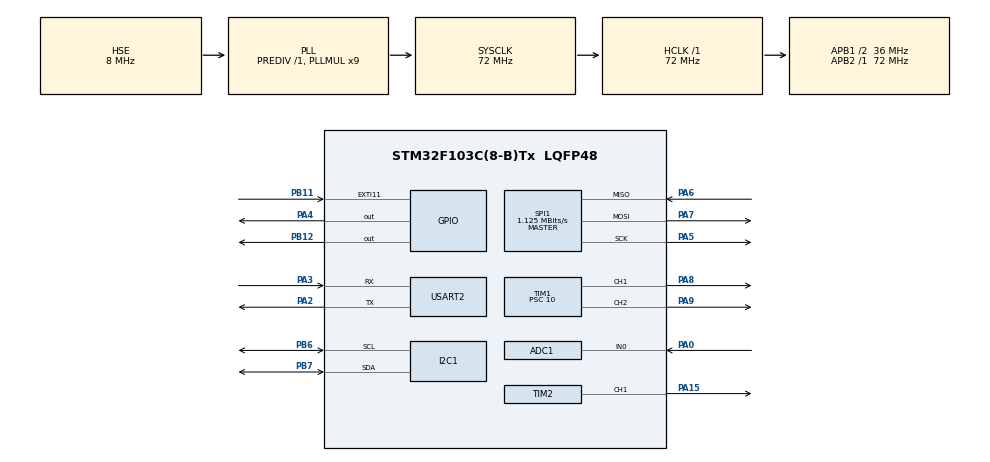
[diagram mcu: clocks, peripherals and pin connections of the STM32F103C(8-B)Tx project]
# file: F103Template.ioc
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ADC1.Channel-0\#ChannelRegularConversion=ADC_CHANNEL_0
ADC1.ContinuousConvMode=ENABLE
ADC1.NbrOfConversion=1
ADC1.NbrOfConversionFlag=1
ADC1.Rank-0\#ChannelRegularConversion=1
ADC1.SamplingTime-0\#ChannelRegularConversion=ADC_SAMPLETIME_1CYCLE_5
ADC1.master=1
Dma.ADC1.1.Direction=DMA_PERIPH_TO_MEMORY
Dma.ADC1.1.Instance=DMA1_Channel1
Dma.ADC1.1.MemDataAlignment=DMA_MDATAALIGN_HALFWORD
Dma.ADC1.1.MemInc=DMA_MINC_ENABLE
Dma.ADC1.1.Mode=DMA_NORMAL
Dma.ADC1.1.PeriphDataAlignment=DMA_PDATAALIGN_HALFWORD
Dma.ADC1.1.PeriphInc=DMA_PINC_DISABLE
Dma.ADC1.1.Priority=DMA_PRIORITY_LOW
Dma.MEMTOMEM.0.Direction=DMA_MEMORY_TO_MEMORY
Dma.MEMTOMEM.0.Instance=DMA1_Channel3
Dma.MEMTOMEM.0.MemDataAlignment=DMA_MDATAALIGN_BYTE
Dma.MEMTOMEM.0.MemInc=DMA_MINC_ENABLE
Dma.MEMTOMEM.0.Mode=DMA_NORMAL
Dma.MEMTOMEM.0.PeriphDataAlignment=DMA_PDATAALIGN_BYTE
Dma.MEMTOMEM.0.PeriphInc=DMA_PINC_ENABLE
Dma.MEMTOMEM.0.Priority=DMA_PRIORITY_LOW
Dma.Request0=MEMTOMEM
Dma.Request1=ADC1
Dma.Request2=TIM2_CH1
Dma.TIM2_CH1.2.Direction=DMA_MEMORY_TO_PERIPH
Dma.TIM2_CH1.2.Instance=DMA1_Channel5
Dma.TIM2_CH1.2.MemDataAlignment=DMA_MDATAALIGN_HALFWORD
Dma.TIM2_CH1.2.MemInc=DMA_MINC_ENABLE
Dma.TIM2_CH1.2.Mode=DMA_CIRCULAR
Dma.TIM2_CH1.2.PeriphDataAlignment=DMA_PDATAALIGN_HALFWORD
Dma.TIM2_CH1.2.PeriphInc=DMA_PINC_DISABLE
Dma.TIM2_CH1.2.Priority=DMA_PRIORITY_MEDIUM
Mcu.Family=STM32F1
Mcu.Name=STM32F103C(8-B)Tx
Mcu.Package=LQFP48
NVIC.ADC1_2_IRQn=true\:0\:0\:false\:false\:true\:true\:true\:true
NVIC.DMA1_Channel1_IRQn=true\:0\:0\:false\:false\:true\:false\:true\:true
NVIC.DMA1_Channel5_IRQn=true\:0\:0\:false\:false\:true\:false\:true\:true
NVIC.EXTI15_10_IRQn=true\:0\:0\:false\:false\:true\:true\:true\:true
NVIC.PriorityGroup=NVIC_PRIORITYGROUP_4
NVIC.TIM2_IRQn=true\:0\:0\:false\:false\:true\:true\:true\:true
PA0-WKUP.Signal=ADCx_IN0
PA13.Mode=Serial_Wire
PA13.Signal=SYS_JTMS-SWDIO
PA14.Mode=Serial_Wire
PA14.Signal=SYS_JTCK-SWCLK
PA15.Signal=S_TIM2_CH1_ETR
PA2.Mode=Asynchronous
PA2.Signal=USART2_TX
PA3.Mode=Asynchronous
PA3.Signal=USART2_RX
PA4.Signal=GPIO_Output
PA5.Mode=Full_Duplex_Master
PA5.Signal=SPI1_SCK
PA6.Mode=Full_Duplex_Master
PA6.Signal=SPI1_MISO
PA7.Mode=Full_Duplex_Master
PA7.Signal=SPI1_MOSI
PA8.GPIO_ModeDefaultPP=GPIO_MODE_AF_OD
PA8.GPIO_Speed=GPIO_SPEED_FREQ_LOW
PA8.Signal=S_TIM1_CH1
PA9.Signal=S_TIM1_CH2
PB11.GPIO_ModeDefaultEXTI=GPIO_MODE_IT_FALLING
PB11.GPIO_PuPd=GPIO_NOPULL
PB11.Signal=GPXTI11
PB12.GPIO_ModeDefaultOutputPP=GPIO_MODE_OUTPUT_OD
PB12.GPIO_PuPd=GPIO_NOPULL
PB12.Signal=GPIO_Output
PB6.Mode=I2C
PB6.Signal=I2C1_SCL
PB7.Mode=I2C
PB7.Signal=I2C1_SDA
PD0-OSC_IN.Mode=HSE-External-Oscillator
PD0-OSC_IN.Signal=RCC_OSC_IN
PD1-OSC_OUT.Mode=HSE-External-Oscillator
PD1-OSC_OUT.Signal=RCC_OSC_OUT
ProjectManager.HeapSize=0x200
ProjectManager.StackSize=0x400
ProjectManager.TargetToolchain=CMake
RCC.ADCPresc=RCC_ADCPCLK2_DIV8
RCC.AHBFreq_Value=72000000
RCC.APB1CLKDivider=RCC_HCLK_DIV2
RCC.APB1Freq_Value=36000000
RCC.APB1TimFreq_Value=72000000
RCC.APB2Freq_Value=72000000
RCC.APB2TimFreq_Value=72000000
RCC.EnbaleCSS=true
RCC.HCLKFreq_Value=72000000
RCC.PLLMUL=RCC_PLL_MUL9
RCC.PLLSourceVirtual=RCC_PLLSOURCE_HSE
RCC.SYSCLKFreq_VALUE=72000000
RCC.SYSCLKSource=RCC_SYSCLKSOURCE_PLLCLK
RCC.USBFreq_Value=72000000
SH.ADCx_IN0.0=ADC1_IN0,IN0
SH.S_TIM1_CH1.0=TIM1_CH1,PWM Generation1 CH1
SH.S_TIM1_CH2.0=TIM1_CH2,PWM Generation2 CH2
SH.S_TIM2_CH1_ETR.0=TIM2_CH1,PWM Generation1 CH1
SPI1.BaudRatePrescaler=SPI_BAUDRATEPRESCALER_64
SPI1.CLKPhase=SPI_PHASE_2EDGE
SPI1.CLKPolarity=SPI_POLARITY_HIGH
SPI1.CalculateBaudRate=1.125 MBits/s
SPI1.Direction=SPI_DIRECTION_2LINES
SPI1.Mode=SPI_MODE_MASTER
SPI1.VirtualType=VM_MASTER
TIM1.Channel-PWM\ Generation1\ CH1=TIM_CHANNEL_1
TIM1.Channel-PWM\ Generation2\ CH2=TIM_CHANNEL_2
TIM1.Period=4096
TIM1.Prescaler=10
TIM1.Pulse-PWM\ Generation1\ CH1=500
TIM1.Pulse-PWM\ Generation2\ CH2=250
TIM2.AutoReloadPreload=TIM_AUTORELOAD_PRELOAD_DISABLE
TIM2.Channel-PWM\ Generation1\ CH1=TIM_CHANNEL_1
TIM2.Period=89
TIM2.Pulse-PWM\ Generation1\ CH1=30
USART2.VirtualMode=VM_ASYNC
VP_ADC1_TempSens_Input.Mode=IN-TempSens
VP_TIM1_VS_ClockSourceINT.Mode=Internal
board=custom

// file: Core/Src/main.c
/* USER CODE BEGIN Header */
/**
 ******************************************************************************
 * @file           : main.c
 * @brief          : Main program body
 ******************************************************************************
 * @attention
 *
 * Copyright (c) 2024 STMicroelectronics.
 * All rights reserved.
 *
 * This software is licensed under terms that can be found in the LICENSE file
 * in the root directory of this software component.
 * If no LICENSE file comes with this software, it is provided AS-IS.
 *
 ******************************************************************************
 */
/* USER CODE END Header */
#include "main.h"
#include "adc.h"
#include "dma.h"
#include "i2c.h"
#include "spi.h"
#include "tim.h"
#include "usart.h"
#include "gpio.h"

/* USER CODE BEGIN Includes */
#include <stdio.h>
#include "screen.h"
#include "ws2812.h"
#include "imu.h"

/* USER CODE END Includes */

/* USER CODE BEGIN PD */
#define isblink 1
#define DMAdemo 0
#define isDMA 0
#define isADC 0
#define isDMA_ADC
#define isPWM 0
#define isWS2812 0
#define isIMU 0
#define isUARTdemo 0
/* USER CODE END PD */

void SystemClock_Config(void);

/* USER CODE BEGIN PFP */
int _write(int32_t file, uint8_t *ptr, int32_t len)
{
  for (int i = 0; i < len; i++)
  {
    ITM_SendChar(*ptr++);
  }
  return len;
}
void increment(uint8_t *a);
/* USER CODE END PFP */

/* USER CODE BEGIN 0 */
const uint8_t a = 0x4C;
/* USER CODE END 0 */

int main(void)
{

  /* USER CODE BEGIN 1 */
  char buffer[20];
#if (isDMA)
  uint8_t DataA[] = {0x01, 0x02, 0x03, 0x04};
  uint8_t DataB[] = {0, 0, 0, 0};
#endif

#if (isADC || isDMA_ADC)
  uint32_t adcValue;
#endif

  /* USER CODE END 1 */

  /* MCU Configuration--------------------------------------------------------*/

  /* Reset of all peripherals, Initializes the Flash interface and the Systick. */
  HAL_Init();

  /* Configure the system clock */
  SystemClock_Config();

  /* USER CODE BEGIN SysInit */
#if (isADC || isDMA_ADC)
  HAL_ADC_MspInit(&hadc1);
#endif
  /* USER CODE END SysInit */

  /* Initialize all configured peripherals */
  MX_GPIO_Init();
  MX_DMA_Init();
  MX_ADC1_Init();
  MX_I2C1_Init();
  MX_TIM1_Init();
  MX_TIM2_Init();
  MX_SPI1_Init();
  MX_USART2_UART_Init();
  /* USER CODE BEGIN 2 */
  OLED_Init();
  OLED_Clear();
  printf("Hello from printf!\n");
  OLED_ShowString(0, 0, "Hello from i2c!", 8);
  HAL_UART_Transmit(&huart2, (uint8_t *)"Hello from UART!\n", 17, HAL_MAX_DELAY);
#if (DMAdemo)
  const uint8_t b = 0x00;
  OLED_ShowString(0, 0, "Hello, World!", 8);
  sprintf(buffer, "%08x", &ADC1->DR);
  OLED_ShowString(0, 1, buffer, 8);
  sprintf(buffer, "%x", a);
  OLED_ShowString(0, 2, buffer, 8);
  sprintf(buffer, "%08x", &a);
  OLED_ShowString(0, 3, buffer, 8);
  sprintf(buffer, "%x", b);
  OLED_ShowString(0, 4, buffer, 8);
  sprintf(buffer, "%08x", &b);
  OLED_ShowString(0, 5, buffer, 8);
#endif

#if (isPWM)
  HAL_TIM_PWM_Start(&htim1, TIM_CHANNEL_1);
  HAL_TIM_PWM_Start(&htim1, TIM_CHANNEL_2);
#endif
#if (isIMU)
  while (ADXL345_Init() != HAL_OK)
    ;
#endif
  /* USER CODE END 2 */

  /* Infinite loop */
  /* USER CODE BEGIN WHILE */
  while (1)
  {
#if (isblink)
    HAL_GPIO_WritePin(GPIOB, GPIO_PIN_12, GPIO_PIN_RESET);
    HAL_Delay(500);
    HAL_GPIO_WritePin(GPIOB, GPIO_PIN_12, GPIO_PIN_SET);
    HAL_Delay(500);
#endif

#if (isDMA)
    OLED_ShowString(0, 0, "Data A", 8);
    sprintf(buffer, "ADDR: %02x", &DataA);
    OLED_ShowString(0, 1, buffer, 8);
    sprintf(buffer, "%02x %02x %02x %02x", DataA[0], DataA[1], DataA[2], DataA[3]);
    OLED_ShowString(0, 2, buffer, 8);
    // start DMA transfer
    HAL_DMA_Start(&hdma_memtomem_dma1_channel2, (uint32_t)DataA, (uint32_t)DataB, 4);
    // wait for DMA transfer complete
    while (HAL_DMA_PollForTransfer(&hdma_memtomem_dma1_channel2, HAL_DMA_FULL_TRANSFER, HAL_MAX_DELAY) != HAL_OK)
      ;
    // after DMA transfer
    OLED_ShowString(0, 3, "Data B", 8);
    sprintf(buffer, "ADDR: %02x", &DataB);
    OLED_ShowString(0, 4, buffer, 8);
    sprintf(buffer, "%02x %02x %02x %02x", DataB[0], DataB[1], DataB[2], DataB[3]);
    OLED_ShowString(0, 5, buffer, 8);
    increment(DataA);
#endif

#if (isADC)
    HAL_ADC_Start(&hadc1);
    while (HAL_ADC_PollForConversion(&hadc1, HAL_MAX_DELAY))
      ;
    adcValue = HAL_ADC_GetValue(&hadc1);
    OLED_ShowString(0, 0, "ADC Value", 8);
    sprintf(buffer, "%d", adcValue);
    OLED_ShowString(0, 1, buffer, 8);
#endif

/* DMA ADC begin */
#if (isDMA_ADC)
    HAL_ADC_Start_DMA(&hadc1, &adcValue, 1);
    OLED_ShowString(0, 0, "ADC Value", 8);
    adcValue = (adcValue & 0x0000FFFF);
    sprintf(buffer, "%04d", adcValue);
    OLED_ShowString(0, 1, buffer, 8);
#endif

#if (isPWM)
    HAL_ADC_Start_DMA(&hadc1, (uint32_t *)&TIM1->CCR1, 1);
    HAL_ADC_Start_DMA(&hadc1, (uint32_t *)&TIM1->CCR2, 1);
#endif

#if (isWS2812)
    // ws2812_example();
    ws2812_test();
#endif

#if (isIMU)
    ADXL345_Test();
#endif

#if (isUARTdemo)
    if (HAL_UART_Receive(&huart2, (uint8_t *)buffer, 1, HAL_MAX_DELAY) == HAL_OK)
    {
      HAL_UART_Transmit(&huart2, (uint8_t *)buffer, 1, HAL_MAX_DELAY);
      HAL_UART_Transmit(&huart2, (uint8_t *)"\r\n\r", 1, HAL_MAX_DELAY);
    }
#endif
    /* USER CODE END WHILE */

  }
}

void SystemClock_Config(void)
{
  RCC_OscInitTypeDef RCC_OscInitStruct = {0};
  RCC_ClkInitTypeDef RCC_ClkInitStruct = {0};
  RCC_PeriphCLKInitTypeDef PeriphClkInit = {0};

  /** Initializes the RCC Oscillators according to the specified parameters
   * in the RCC_OscInitTypeDef structure.
   */
  RCC_OscInitStruct.OscillatorType = RCC_OSCILLATORTYPE_HSE;
  RCC_OscInitStruct.HSEState = RCC_HSE_ON;
  RCC_OscInitStruct.HSEPredivValue = RCC_HSE_PREDIV_DIV1;
  RCC_OscInitStruct.HSIState = RCC_HSI_ON;
  RCC_OscInitStruct.PLL.PLLState = RCC_PLL_ON;
  RCC_OscInitStruct.PLL.PLLSource = RCC_PLLSOURCE_HSE;
  RCC_OscInitStruct.PLL.PLLMUL = RCC_PLL_MUL9;
  if (HAL_RCC_OscConfig(&RCC_OscInitStruct) != HAL_OK)
  {
    Error_Handler();
  }

  /** Initializes the CPU, AHB and APB buses clocks
   */
  RCC_ClkInitStruct.ClockType = RCC_CLOCKTYPE_HCLK | RCC_CLOCKTYPE_SYSCLK | RCC_CLOCKTYPE_PCLK1 | RCC_CLOCKTYPE_PCLK2;
  RCC_ClkInitStruct.SYSCLKSource = RCC_SYSCLKSOURCE_PLLCLK;
  RCC_ClkInitStruct.AHBCLKDivider = RCC_SYSCLK_DIV1;
  RCC_ClkInitStruct.APB1CLKDivider = RCC_HCLK_DIV2;
  RCC_ClkInitStruct.APB2CLKDivider = RCC_HCLK_DIV1;

  if (HAL_RCC_ClockConfig(&RCC_ClkInitStruct, FLASH_LATENCY_2) != HAL_OK)
  {
    Error_Handler();
  }
  PeriphClkInit.PeriphClockSelection = RCC_PERIPHCLK_ADC;
  PeriphClkInit.AdcClockSelection = RCC_ADCPCLK2_DIV8;
  if (HAL_RCCEx_PeriphCLKConfig(&PeriphClkInit) != HAL_OK)
  {
    Error_Handler();
  }

  /** Enables the Clock Security System
   */
  HAL_RCC_EnableCSS();
}

/* USER CODE BEGIN 4 */
void increment(uint8_t *a)
{
  for (int i = 0; a[i] != NULL; i++)
  {
    a[i]++;
  }
}
void HAL_ADC_ConvCpltCallback(ADC_HandleTypeDef *hadc1)
{
  // HAL_GPIO_TogglePin(GPIOB, GPIO_PIN_12);
  UNUSED(hadc1);
}
void HAL_GPIO_EXTI_Callback(uint16_t GPIO_Pin)
{
  if (GPIO_Pin == GPIO_PIN_11)
    // OLED_ShowString(0, 2, "EXTI Callback", 8);
    HAL_GPIO_TogglePin(GPIOB, GPIO_PIN_12);
}

/* USER CODE END 4 */

void Error_Handler(void)
{
  __disable_irq();
  while (1)
  {
  }
}
